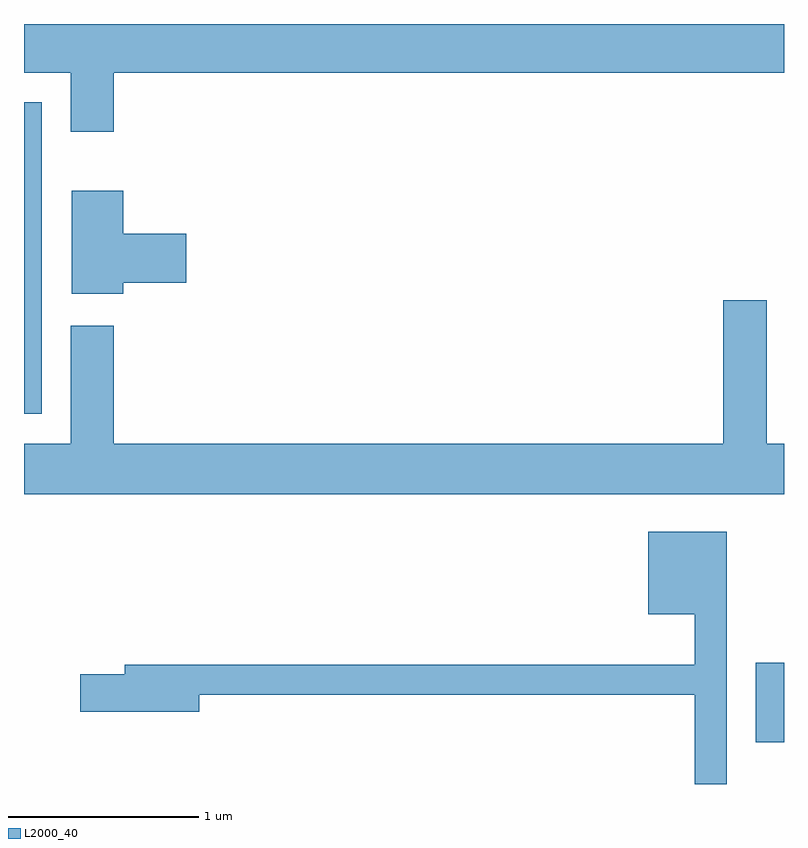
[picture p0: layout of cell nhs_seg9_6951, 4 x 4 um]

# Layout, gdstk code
import gdstk
lib = gdstk.Library(unit=1e-6, precision=1e-09)
def R(c, l, rs):  # rectangles x0, y0, x1, y1
    for r in rs: c.add(gdstk.rectangle(r[:2], r[2:], *l))
def P(c, l, *ps):  # polygons
    for p in ps: c.add(gdstk.Polygon(p, *l))
L2000_40 = (2000, 40)

nhs_seg9_6951 = lib.new_cell('nhs_seg9_6951')
R(nhs_seg9_6951, L2000_40, [(393.461,2072.651,393.611,2073.069), (389.611,2074.381,389.704,2076.019)])
P(nhs_seg9_6951, L2000_40, [(389.611,2076.176),(389.856,2076.176),(389.856,2075.866),(390.084,2075.866),(390.084,2076.176),(393.611,2076.176),(393.611,2076.432),(389.611,2076.432)],
  [(390.134,2075.071),(390.464,2075.071),(390.464,2075.329),(390.134,2075.329),(390.134,2075.554),(389.861,2075.554),(389.861,2075.011),(390.134,2075.011)],
  [(393.611,2074.224),(393.519,2074.224),(393.519,2074.979),(393.291,2074.979),(393.291,2074.224),(390.084,2074.224),(390.084,2074.844),(389.856,2074.844),(389.856,2074.224),(389.611,2074.224),(389.611,2073.956),(393.611,2073.956)],
  [(393.309,2073.759),(392.896,2073.759),(392.896,2073.326),(393.141,2073.326),(393.141,2073.059),(390.141,2073.059),(390.141,2073.009),(389.906,2073.009),(389.906,2072.811),(390.534,2072.811),(390.534,2072.901),(393.141,2072.901),(393.141,2072.432),(393.309,2072.432)])

lib.write_gds('nhs_seg9_6951.gds')
